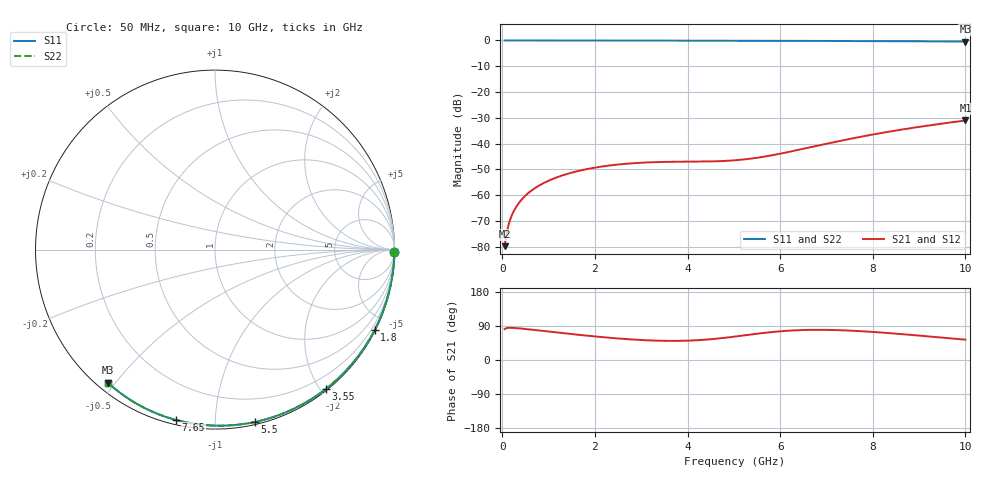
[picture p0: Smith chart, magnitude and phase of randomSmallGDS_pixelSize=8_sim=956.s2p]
! freq	dB(S11)	phase(S11)	dB(S12)	phase(S12)
!  dB(S21)	phase(S21)	dB(S22)	phase(S22)
!S-par simulation data
#  GHz  S  DB  R 50
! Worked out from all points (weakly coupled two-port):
!   200 points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, 50 MHz to 10 GHz, reference 50 ohm
!   highest |S21| = -31.03 dB at 10 GHz (marker M1); lowest = -79.8 dB at 50 MHz (marker M2)
!   lowest |S11| = -0.4 dB at 10 GHz (marker M3), VSWR 40.59, Z = 1.51 - j23.9 ohm
!   |S11| at or under -10 dB: nowhere
!   |S22| runs from -0.4 to 0.0 dB; largest |S21 - S12| = 0
!   S11 on the Smith chart (normalised r, x): 50 MHz: open; 1.8 GHz: 0.04, -4.21; 3.55 GHz: 0.02, -2.07; 5.5 GHz: 0.02, -1.25; 7.65 GHz: 0.02, -0.80; 10 GHz: 0.03, -0.48
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0.05  -0.00 -0.8  -79.78 81.6  -79.78 81.6  -0.00 -0.8
0.1  -0.00 -1.5  -73.99 84.5  -73.99 84.5  -0.00 -1.5
0.15  -0.00 -2.3  -70.52 85.0  -70.52 85.0  -0.00 -2.3
0.2  -0.00 -3.0  -68.05 85.0  -68.05 85.0  -0.00 -3.0
0.25  -0.00 -3.8  -66.12 84.7  -66.12 84.7  -0.00 -3.8
0.35  -0.00 -5.3  -63.23 83.7  -63.23 83.7  -0.00 -5.3
0.5  -0.01 -7.5  -60.17 81.8  -60.17 81.8  -0.01 -7.5
0.7  -0.01 -10.5  -57.32 79.2  -57.32 79.2  -0.01 -10.5
1  -0.02 -15.0  -54.39 75.1  -54.39 75.1  -0.02 -15.0
1.35  -0.03 -20.1  -52.04 70.3  -52.04 70.3  -0.03 -20.1
1.75  -0.03 -26.0  -50.18 65.2  -50.18 65.2  -0.03 -26.0
1.8  -0.03 -26.7  -49.99 64.6  -49.99 64.6  -0.03 -26.7
2.5  -0.05 -36.8  -48.11 56.8  -48.11 56.8  -0.05 -36.8
3.4  -0.07 -49.4  -47.14 50.9  -47.14 50.9  -0.07 -49.4
3.55  -0.07 -51.5  -47.08 50.5  -47.08 50.5  -0.07 -51.5
4.3  -0.09 -61.6  -46.97 52.9  -46.97 52.9  -0.09 -61.6
5.05  -0.11 -71.4  -46.43 62.2  -46.43 62.2  -0.11 -71.4
5.5  -0.12 -77.1  -45.50 69.3  -45.50 69.3  -0.12 -77.1
6.7  -0.18 -91.8  -41.23 79.6  -41.23 79.6  -0.18 -91.8
7.65  -0.23 -102.9  -37.67 76.7  -37.67 76.7  -0.23 -102.9
8.35  -0.28 -110.8  -35.38 71.0  -35.38 71.0  -0.28 -110.8
10  -0.43 -128.8  -31.03 53.7  -31.03 53.7  -0.43 -128.8
